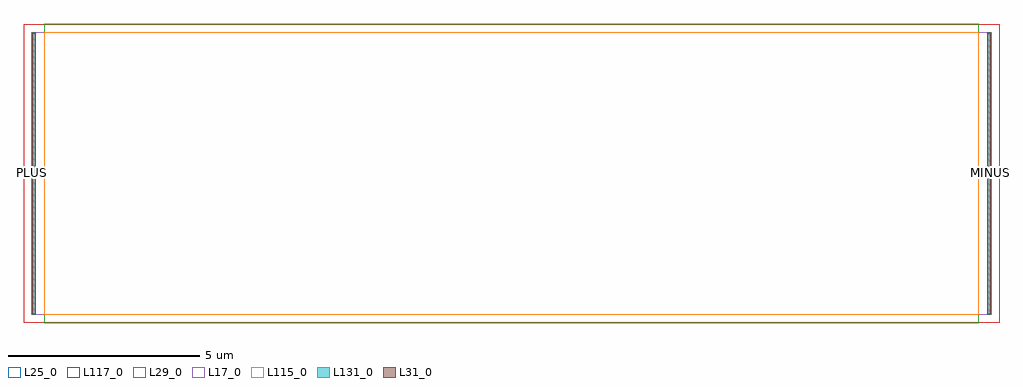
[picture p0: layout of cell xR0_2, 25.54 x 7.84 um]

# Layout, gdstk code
import gdstk
lib = gdstk.Library(unit=1e-6, precision=1e-09)
def R(c, l, rs):  # rectangles x0, y0, x1, y1
    for r in rs: c.add(gdstk.rectangle(r[:2], r[2:], *l))
L17_0 = (17, 0)
L25_0 = (25, 0)
L29_0 = (29, 0)
L31_0 = (31, 0)
L115_0 = (115, 0)
L117_0 = (117, 0)
L131_0 = (131, 0)

xr0_2 = lib.new_cell('xR0_2')
R(xr0_2, L17_0, [(0.2,0.22,25.34,7.62)])
R(xr0_2, L25_0, [(0,0.02,25.54,7.82)])
R(xr0_2, L29_0, [(0.54,0,25,7.84)])
R(xr0_2, L31_0, [(0.23,0.235,0.32,7.605), (25.22,0.235,25.31,7.605)])
R(xr0_2, L115_0, [(0.54,0.22,25,7.62)])
R(xr0_2, L117_0, [(0,0.02,25.54,7.82)])
R(xr0_2, L131_0, [(0.23,0.22,0.32,7.62), (25.22,0.22,25.31,7.62)])
xr0_2.add(gdstk.Label('PLUS', (0.23,3.935), layer=131, texttype=0))
xr0_2.add(gdstk.Label('MINUS', (25.31,3.935), layer=131, texttype=0))

lib.write_gds('xR0_2.gds')
